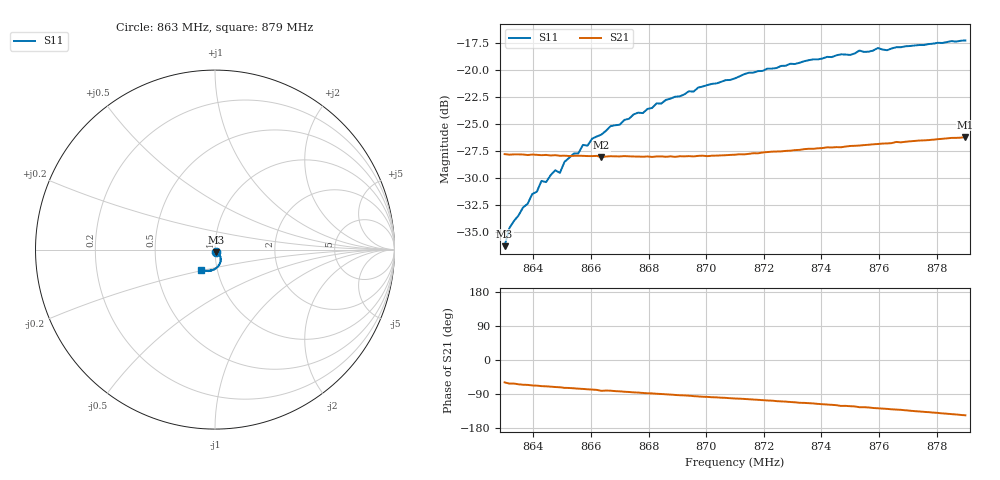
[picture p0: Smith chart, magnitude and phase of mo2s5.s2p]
# HZ S RI R 50
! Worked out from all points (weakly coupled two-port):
!   101 points, 863 MHz to 879 MHz, reference 50 ohm
!   highest |S21| = -26.24 dB at 879 MHz (marker M1); lowest = -28.1 dB at 866.36 MHz (marker M2)
!   lowest |S11| = -36.4 dB at 863 MHz (marker M3), VSWR 1.03, Z = 50.7 - j1.37 ohm
!   |S11| at or under -10 dB: start of sweep to end of sweep
!   S12 and S22 are empty: the file has one direction only
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8.63e8  0.00695 -0.0135  0.0209 -0.0348  0 0  0 0
8.6316e8  0.0084 -0.0164  0.0188 -0.0357  0 0  0 0
8.638e8  0.0145 -0.019  0.0166 -0.0367  0 0  0 0
8.6396e8  0.017 -0.0204  0.0157 -0.0373  0 0  0 0
8.6412e8  0.0171 -0.0212  0.0154 -0.0373  0 0  0 0
8.6428e8  0.0191 -0.0239  0.0144 -0.0375  0 0  0 0
8.6444e8  0.0204 -0.0222  0.0141 -0.0377  0 0  0 0
8.6476e8  0.0214 -0.0267  0.0129 -0.0381  0 0  0 0
8.6492e8  0.0204 -0.0263  0.0123 -0.038  0 0  0 0
8.6508e8  0.0243 -0.0284  0.0114 -0.0383  0 0  0 0
8.6556e8  0.026 -0.0316  0.00991 -0.0387  0 0  0 0
8.6572e8  0.0273 -0.0355  0.00942 -0.0388  0 0  0 0
8.6588e8  0.0273 -0.0351  0.00872 -0.0388  0 0  0 0
8.6604e8  0.0299 -0.0375  0.00822 -0.0389  0 0  0 0
8.6636e8  0.0295 -0.0404  0.00587 -0.0389  0 0  0 0
8.6668e8  0.0307 -0.0454  0.00625 -0.0392  0 0  0 0
8.6844e8  0.0318 -0.062  0.0002 -0.0397  0 0  0 0
8.6972e8  0.0277 -0.0779  -0.00424 -0.0397  0 0  0 0
8.71e8  0.019 -0.0892  -0.00812 -0.0396  0 0  0 0
8.7372e8  -0.00572 -0.1116  -0.0179 -0.0391  0 0  0 0
8.7644e8  -0.0424 -0.1181  -0.0295 -0.0349  0 0  0 0
8.79e8  -0.0796 -0.1111  -0.0404 -0.0273  0 0  0 0
